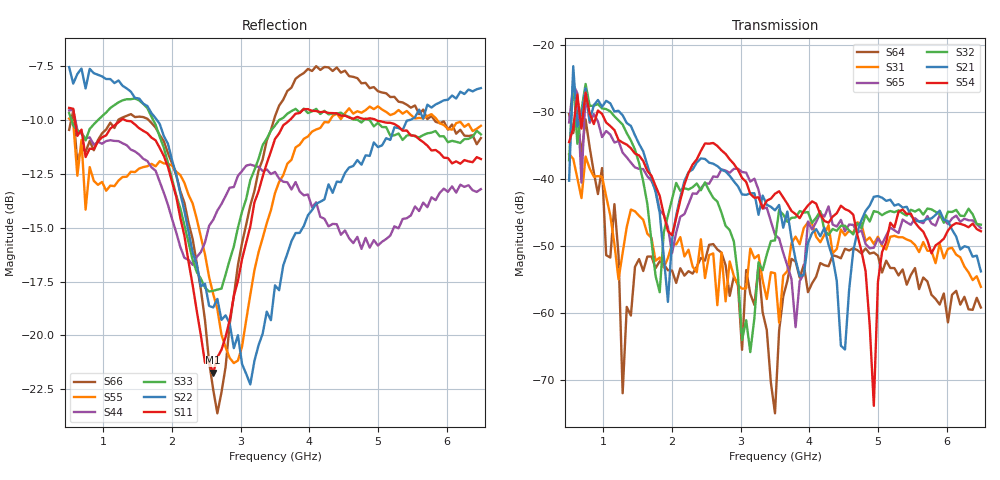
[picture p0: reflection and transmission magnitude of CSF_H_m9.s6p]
!Keysight Technologies,M9804A,MY58100912,A.14.10.03
!Date: Thursday, April 27, 2023 10:28:33
!Correction: S11(C  6-Port  )
!S12(C  6-Port  )
!S13(C  6-Port  )
!S14(C  6-Port  )
!S15(C  6-Port  )
!S16(C  6-Port  )
!S21(C  6-Port  )
!S22(C  6-Port  )
!S23(C  6-Port  )
!S24(C  6-Port  )
!S25(C  6-Port  )
!S26(C  6-Port  )
!S31(C  6-Port  )
!S32(C  6-Port  )
!S33(C  6-Port  )
!S34(C  6-Port  )
!S35(C  6-Port  )
!S36(C  6-Port  )
!S41(C  6-Port  )
!S42(C  6-Port  )
!S43(C  6-Port  )
!S44(C  6-Port  )
!S45(C  6-Port  )
!S46(C  6-Port  )
!S51(C  6-Port  )
!S52(C  6-Port  )
!S53(C  6-Port  )
!S54(C  6-Port  )
!S55(C  6-Port  )
!S56(C  6-Port  )
!S61(C  6-Port  )
!S62(C  6-Port  )
!S63(C  6-Port  )
!S64(C  6-Port  )
!S65(C  6-Port  )
!S66(C  6-Port  )
!S6P File: Measurement: :
# Hz S  RI  R 50
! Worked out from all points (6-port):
!   101 points, 500 MHz to 6.5 GHz, reference 50 ohm
!   strongest paths, dB at 500 MHz, 2 GHz, 3.5 GHz, 5 GHz, 6.5 GHz:
!     S54: -34.4, -48.4, -42.2, -55.3, -47.8
!     S21: -40.2, -49.0, -44.6, -42.5, -53.8
!     S32: -37.2, -43.0, -49.1, -44.9, -46.8
!     S65: -31.5, -51.0, -48.3, -48.8, -47.3
!     S31: -36.2, -49.7, -54.0, -48.6, -56.1
!     S64: -30.2, -53.6, -75.0, -51.4, -59.2
!   lowest |S11| = -21.7 dB at 2.6 GHz (marker M1), VSWR 1.18, Z = 42.7 + j2 ohm
!   |S11| at or under -10 dB: 584.6 MHz to 1.263 GHz (678.4 MHz wide, 73.4 % of centre); 1.31 GHz to 3.716 GHz (2.407 GHz wide, 95.8 % of centre); 4.968 GHz to end of sweep
